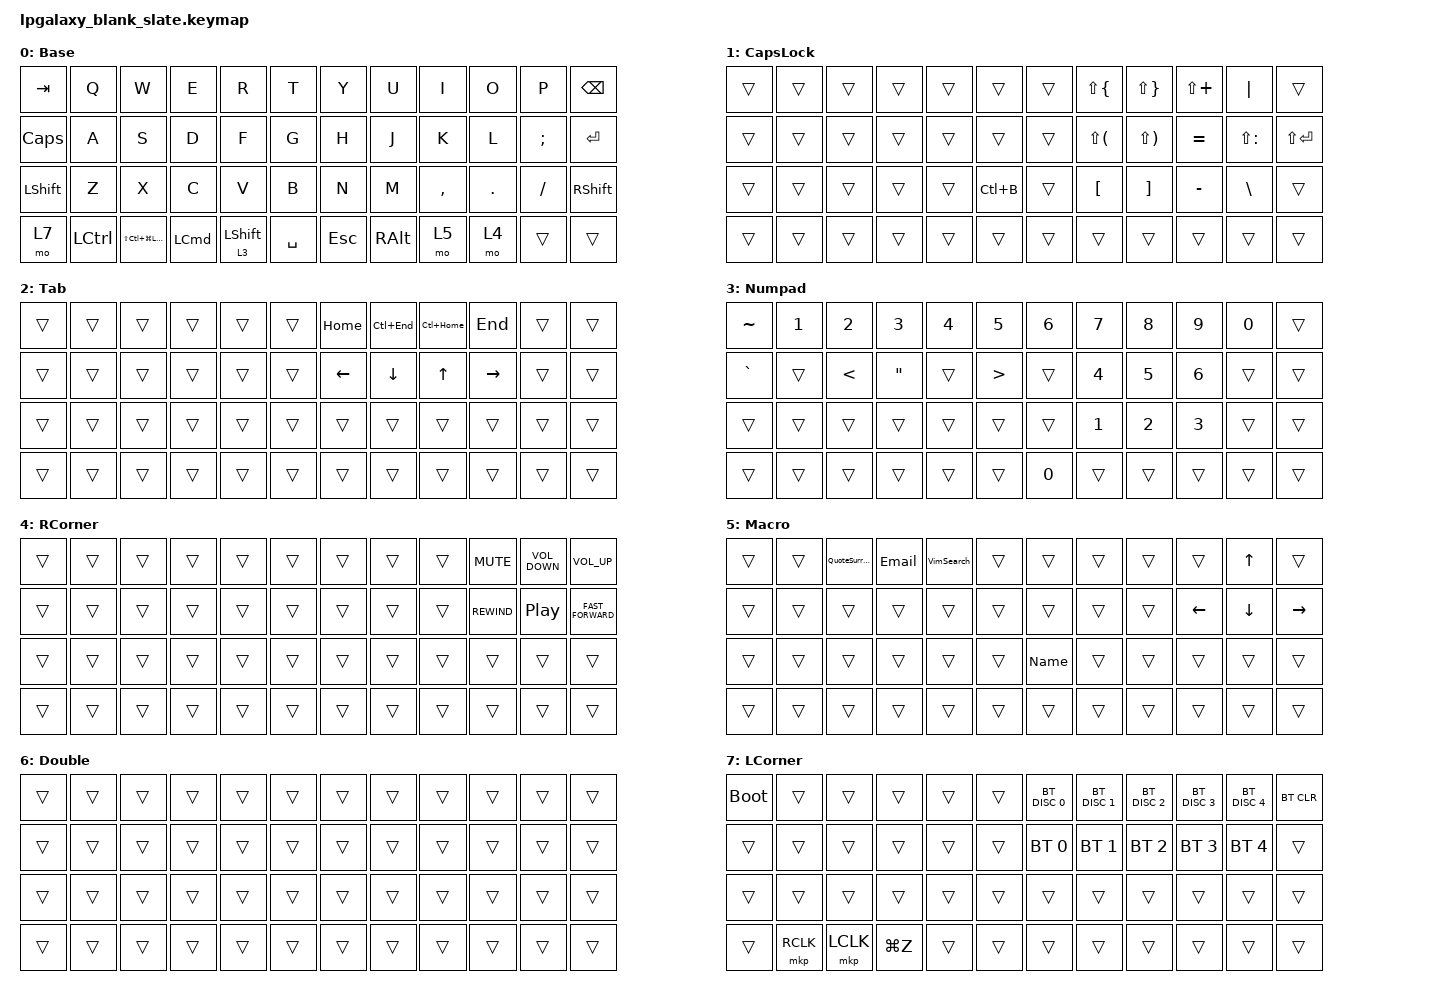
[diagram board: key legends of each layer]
#include <behaviors.dtsi>
#include <dt-bindings/zmk/bt.h>
#include <dt-bindings/zmk/keys.h>
#include <dt-bindings/zmk/pointing.h>

#define BT(n) BT_SEL n

/ {
    chosen { zmk,physical-layout = &layout_ortho_4x12_2x2u; };

    macros {
        Name: Name {
            compatible = "zmk,behavior-macro";
            #binding-cells = <0>;
            bindings = <&kp LS(P) &kp A &kp T &kp SPACE &kp LS(C) &kp U &kp N &kp N &kp I &kp F &kp F>;
            label = "NAME";
        };

        Email: Email {
            compatible = "zmk,behavior-macro";
            #binding-cells = <0>;
            bindings = <&kp P &kp J &kp C &kp F &kp I &kp F &kp A &kp AT &kp G &kp M &kp A &kp I &kp L &kp DOT &kp C &kp O &kp M>;
            label = "EMAIL";
        };

        VimSearch: VimSearch {
            compatible = "zmk,behavior-macro";
            #binding-cells = <0>;
            bindings = <&kp COLON &kp S &kp FSLH>;
            label = "VIMSEARCH";
        };

        QuoteSurround: QuoteSurround {
            compatible = "zmk,behavior-macro";
            #binding-cells = <0>;
            bindings = <&kp COLON &kp S &kp FSLH &kp BSLH &kp BSLH &kp PRCNT &kp LS(V) &kp BSLH &kp BSLH &kp LPAR &kp DOT &kp STAR &kp BSLH &kp BSLH &kp RPAR &kp BSLH &kp BSLH &kp PRCNT &kp LS(V) &kp BSLH &kp BSLH &kp LPAR &kp DOT &kp BSLH &kp BSLH &kp RPAR &kp FSLH &kp BSLH &kp DQT &kp BSLH &kp BSLH &kp N1 &kp BSLH &kp BSLH &kp N2 &kp BSLH &kp DQT &kp FSLH>;
            label = "QUOTESURROUND";
        };
    };

    behaviors {
        QuoteColon: QuoteColon {
            compatible = "zmk,behavior-mod-morph";
            label = "QUOTECOLON";
            bindings = <&kp SINGLE_QUOTE>, <&kp COLON>;

            #binding-cells = <0>;
            mods = <(MOD_LSFT)>;
        };

        osmmo: osmmo {
            compatible = "zmk,behavior-hold-tap";
            label = "OSMMO";
            bindings = <&mo>, <&sk>;

            #binding-cells = <2>;
            tapping-term-ms = <200>;
            flavor = "tap-preferred";
        };
    };

    combos {
        compatible = "zmk,combos";

        Capword {
            bindings = <&caps_word>;
            key-positions = <24 35>;
        };
    };

    keymap {
        compatible = "zmk,keymap";

        Base {
            bindings = <
&kp TAB       &kp Q             &kp W                 &kp E             &kp R                &kp T      &kp Y       &kp U          &kp I      &kp O    &kp P          &kp BSPC
&kp CAPSLOCK  &kp A             &kp S                 &kp D             &kp F                &kp G      &kp H       &kp J          &kp K      &kp L    &kp SEMICOLON  &kp RET
&kp LSHFT     &kp Z             &kp X                 &kp C             &kp V                &kp B      &kp N       &kp M          &kp COMMA  &kp DOT  &kp FSLH       &kp RSHFT
&mo 7         &kp LEFT_CONTROL  &kp LS(LC(LG(LALT)))  &kp LEFT_COMMAND  &osmmo 3 LEFT_SHIFT  &kp SPACE  &kp ESCAPE  &kp RIGHT_ALT  &mo 5      &mo 4    &trans         &trans
            >;
        };

        CapsLock {
            bindings = <
&trans  &trans  &trans  &trans  &trans  &trans     &trans  &kp LS(LBRC)  &kp LS(RBRC)  &kp LS(PLUS)  &kp PIPE       &trans
&trans  &trans  &trans  &trans  &trans  &trans     &trans  &kp LS(LPAR)  &kp LS(RPAR)  &kp EQUAL     &kp LS(COLON)  &kp LS(RETURN)
&trans  &trans  &trans  &trans  &trans  &kp LC(B)  &trans  &kp LBKT      &kp RBKT      &kp MINUS     &kp BACKSLASH  &trans
&trans  &trans  &trans  &trans  &trans  &trans     &trans  &trans        &trans        &trans        &trans         &trans
            >;
        };

        Tab {
            bindings = <
&trans  &trans  &trans  &trans  &trans  &trans  &kp HOME  &kp LC(END)  &kp LC(HOME)  &kp END    &trans  &trans
&trans  &trans  &trans  &trans  &trans  &trans  &kp LEFT  &kp DOWN     &kp UP        &kp RIGHT  &trans  &trans
&trans  &trans  &trans  &trans  &trans  &trans  &trans    &trans       &trans        &trans     &trans  &trans
&trans  &trans  &trans  &trans  &trans  &trans  &trans    &trans       &trans        &trans     &trans  &trans
            >;
        };

        Numpad {
            bindings = <
&kp TILDE  &kp N1  &kp N2         &kp N3             &kp N4  &kp N5            &kp N6  &kp N7  &kp N8  &kp N9  &kp N0  &trans
&kp GRAVE  &trans  &kp LESS_THAN  &kp DOUBLE_QUOTES  &trans  &kp GREATER_THAN  &trans  &kp N4  &kp N5  &kp N6  &trans  &trans
&trans     &trans  &trans         &trans             &trans  &trans            &trans  &kp N1  &kp N2  &kp N3  &trans  &trans
&trans     &trans  &trans         &trans             &trans  &trans            &kp N0  &trans  &trans  &trans  &trans  &trans
            >;
        };

        RCorner {
            bindings = <
&trans  &trans  &trans  &trans  &trans  &trans  &trans  &trans  &trans  &kp K_MUTE    &kp C_VOLUME_DOWN  &kp C_VOLUME_UP
&trans  &trans  &trans  &trans  &trans  &trans  &trans  &trans  &trans  &kp C_REWIND  &kp C_PP           &kp C_FAST_FORWARD
&trans  &trans  &trans  &trans  &trans  &trans  &trans  &trans  &trans  &trans        &trans             &trans
&trans  &trans  &trans  &trans  &trans  &trans  &trans  &trans  &trans  &trans        &trans             &trans
            >;
        };

        Macro {
            bindings = <
&trans  &trans  &QuoteSurround  &Email  &VimSearch  &trans  &trans  &trans  &trans  &trans          &kp UP_ARROW  &trans
&trans  &trans  &trans          &trans  &trans      &trans  &trans  &trans  &trans  &kp LEFT_ARROW  &kp DOWN      &kp RIGHT_ARROW
&trans  &trans  &trans          &trans  &trans      &trans  &Name   &trans  &trans  &trans          &trans        &trans
&trans  &trans  &trans          &trans  &trans      &trans  &trans  &trans  &trans  &trans          &trans        &trans
            >;
        };

        Double {
            bindings = <
&trans  &trans  &trans  &trans  &trans  &trans  &trans  &trans  &trans  &trans  &trans  &trans
&trans  &trans  &trans  &trans  &trans  &trans  &trans  &trans  &trans  &trans  &trans  &trans
&trans  &trans  &trans  &trans  &trans  &trans  &trans  &trans  &trans  &trans  &trans  &trans
&trans  &trans  &trans  &trans  &trans  &trans  &trans  &trans  &trans  &trans  &trans  &trans
            >;
        };

        LCorner {
            bindings = <
&bootloader  &trans     &trans     &trans     &trans  &trans  &bt BT_DISC 0  &bt BT_DISC 1  &bt BT_DISC 2  &bt BT_DISC 3  &bt BT_DISC 4  &bt BT_CLR
&trans       &trans     &trans     &trans     &trans  &trans  &bt BT_SEL 0   &bt BT_SEL 1   &bt BT_SEL 2   &bt BT_SEL 3   &bt BT_SEL 4   &trans
&trans       &trans     &trans     &trans     &trans  &trans  &trans         &trans         &trans         &trans         &trans         &trans
&trans       &mkp RCLK  &mkp LCLK  &kp LG(Z)  &trans  &trans  &trans         &trans         &trans         &trans         &trans         &trans
            >;
        };
    };

    conditional_layers {
        compatible = "zmk,conditional-layers";

        Double {
            if-layers = <1 3>;
            then-layer = <6>;
        };
    };
};
